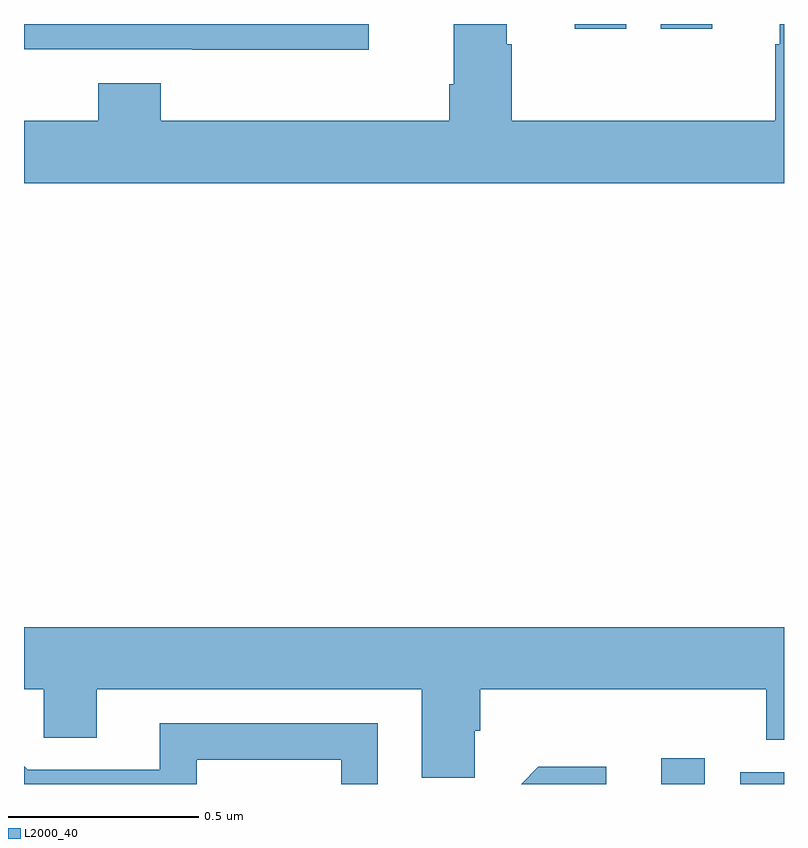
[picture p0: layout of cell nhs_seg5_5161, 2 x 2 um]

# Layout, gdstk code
import gdstk
lib = gdstk.Library(unit=1e-6, precision=1e-09)
def R(c, l, rs):  # rectangles x0, y0, x1, y1
    for r in rs: c.add(gdstk.rectangle(r[:2], r[2:], *l))
def P(c, l, *ps):  # polygons
    for p in ps: c.add(gdstk.Polygon(p, *l))
L2000_40 = (2000, 40)

nhs_seg5_5161 = lib.new_cell('nhs_seg5_5161')
R(nhs_seg5_5161, L2000_40, [(180.677,901.799,180.792,901.867), (180.885,901.799,181,901.83), (180.449,903.786,180.585,903.799), (180.675,903.786,180.811,903.799)])
P(nhs_seg5_5161, L2000_40, [(181,903.799),(180.989,903.799),(180.989,903.746),(180.977,903.746),(180.977,903.544),(180.284,903.544),(180.284,903.746),(180.271,903.746),(180.271,903.799),(180.131,903.799),(180.131,903.64),(180.119,903.64),(180.119,903.544),(179.36,903.544),(179.36,903.643),(179.195,903.643),(179.195,903.544),(179,903.544),(179,903.38),(181,903.38)],
  [(179.907,903.799),(179,903.799),(179,903.732),(179.443,903.732),(179.443,903.731),(179.907,903.731)],
  [(180.186,901.939),(180.2,901.939),(180.2,902.048),(180.953,902.048),(180.953,901.915),(181,901.915),(181,902.212),(179,902.212),(179,902.048),(179.052,902.048),(179.052,901.921),(179.191,901.921),(179.191,902.048),(180.047,902.048),(180.047,901.816),(180.186,901.816)],
  [(179.454,901.863),(179.835,901.863),(179.835,901.799),(179.931,901.799),(179.931,901.959),(179.357,901.959),(179.357,901.836),(179.01,901.836),(179,901.846),(179,901.799),(179.454,901.799)],
  [(180.532,901.844),(180.353,901.844),(180.308,901.799),(180.532,901.799)])

lib.write_gds('nhs_seg5_5161.gds')
